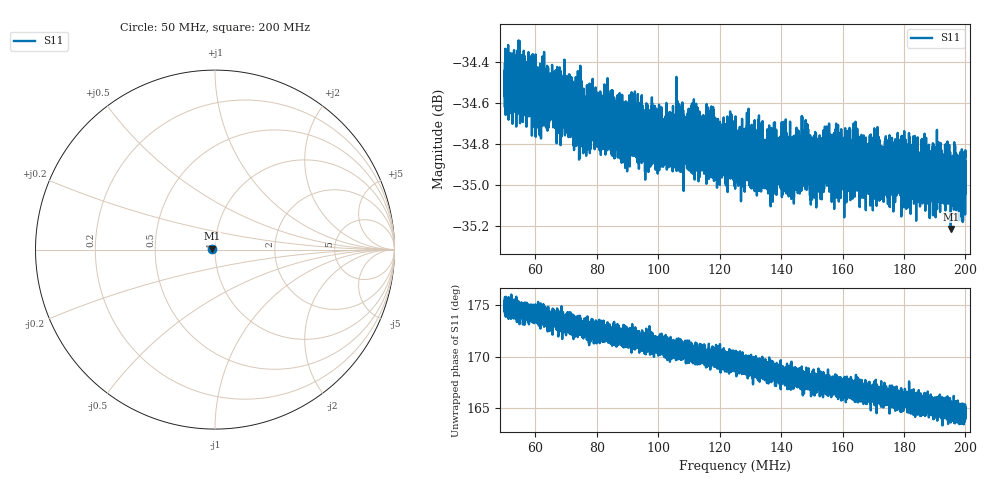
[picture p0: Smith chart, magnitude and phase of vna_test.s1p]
! COPPER MOUNTAIN TECHNOLOGIES, PLANAR TR1300/1, 00071119, 20.2.2/1.0
! Date: 1/7/2024 7:53:58 PM
! Data: Format [Calibration Info]
! Freq  S11: Re/Im F1
# HZ S RI R 50
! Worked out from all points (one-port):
!   12288 points, 50 MHz to 200 MHz, reference 50 ohm
!   lowest |S11| = -35.2 dB at 195.2 MHz (marker M1), VSWR 1.04, Z = 48.3 + j0.422 ohm
!   |S11| at or under -10 dB: start of sweep to end of sweep
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5e7  -0.0185 0.00173
5.07569e7  -0.0188 0.00163
5.847237e7  -0.0188 0.0019
5.997396e7  -0.0187 0.00181
6.555302e7  -0.0183 0.00225
6.875153e7  -0.0186 0.00216
7.1596e7  -0.0184 0.0023
7.602751e7  -0.0184 0.00203
7.743143e7  -0.0181 0.00277
8.750305e7  -0.0181 0.00242
9.407097e7  -0.0184 0.00255
9.911288e7  -0.0181 0.00276
1.062546e8  -0.018 0.00313
1.250061e8  -0.0178 0.00323
1.274599e8  -0.0179 0.0034
1.292667e8  -0.0179 0.00362
1.345039e8  -0.0179 0.00336
1.437576e8  -0.0175 0.00365
1.487629e8  -0.0175 0.00381
1.522056e8  -0.0175 0.0039
1.545007e8  -0.0175 0.00399
1.568202e8  -0.0174 0.00393
1.588956e8  -0.0178 0.00377
1.625092e8  -0.0174 0.004
1.812607e8  -0.017 0.00457
1.952389e8  -0.0168 0.00436
1.992065e8  -0.0172 0.00481
2e8  -0.0174 0.00481
